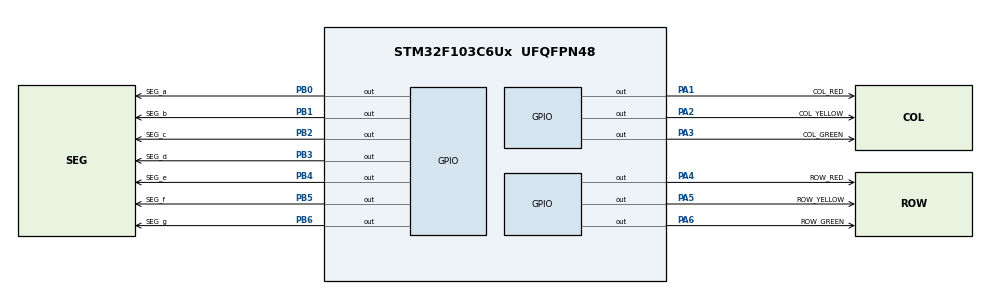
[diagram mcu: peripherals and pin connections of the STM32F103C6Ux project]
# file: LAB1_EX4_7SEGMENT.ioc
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Mcu.Family=STM32F1
Mcu.Name=STM32F103C6Ux
Mcu.Package=UFQFPN48
NVIC.PriorityGroup=NVIC_PRIORITYGROUP_4
PA0-WKUP.Signal=EVENTOUT
PA1.GPIO_Label=COL_RED
PA1.Signal=GPIO_Output
PA2.GPIO_Label=COL_YELLOW
PA2.Signal=GPIO_Output
PA3.GPIO_Label=COL_GREEN
PA3.Signal=GPIO_Output
PA4.GPIO_Label=ROW_RED
PA4.Signal=GPIO_Output
PA5.GPIO_Label=ROW_YELLOW
PA5.Signal=GPIO_Output
PA6.GPIO_Label=ROW_GREEN
PA6.Signal=GPIO_Output
PB0.GPIO_Label=SEG_a
PB0.Signal=GPIO_Output
PB1.GPIO_Label=SEG_b
PB1.Signal=GPIO_Output
PB2.GPIO_Label=SEG_c
PB2.Signal=GPIO_Output
PB3.GPIO_Label=SEG_d
PB3.Signal=GPIO_Output
PB4.GPIO_Label=SEG_e
PB4.Signal=GPIO_Output
PB5.GPIO_Label=SEG_f
PB5.Signal=GPIO_Output
PB6.GPIO_Label=SEG_g
PB6.Signal=GPIO_Output
ProjectManager.HeapSize=0x200
ProjectManager.StackSize=0x400
ProjectManager.TargetToolchain=STM32CubeIDE
RCC.APB1Freq_Value=8000000
RCC.APB2Freq_Value=8000000
VP_SYS_VS_ND.Mode=No_Debug
board=custom

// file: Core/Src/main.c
/* USER CODE BEGIN Header */
/**
  ******************************************************************************
  * @file           : main.c
  * @brief          : Main program body
  ******************************************************************************
  * @attention
  *
  * <h2><center>&copy; Copyright (c) 2022 STMicroelectronics.
  * All rights reserved.</center></h2>
  *
  * This software component is licensed by ST under BSD 3-Clause license,
  * the "License"; You may not use this file except in compliance with the
  * License. You may obtain a copy of the License at:
  *                        opensource.org/licenses/BSD-3-Clause
  *
  ******************************************************************************
  */
/* USER CODE END Header */
#include "main.h"

void SystemClock_Config(void);
static void MX_GPIO_Init(void);

/* USER CODE BEGIN 0 */
void display7SEG(int num){
	  if(num == 0){
		  HAL_GPIO_WritePin(SEG_a_GPIO_Port, SEG_a_Pin, RESET);
		  HAL_GPIO_WritePin(SEG_b_GPIO_Port, SEG_b_Pin, RESET);
		  HAL_GPIO_WritePin(SEG_c_GPIO_Port, SEG_c_Pin, RESET);
		  HAL_GPIO_WritePin(SEG_d_GPIO_Port, SEG_d_Pin, RESET);
		  HAL_GPIO_WritePin(SEG_e_GPIO_Port, SEG_e_Pin, RESET);
		  HAL_GPIO_WritePin(SEG_f_GPIO_Port, SEG_f_Pin, RESET);
		  HAL_GPIO_WritePin(SEG_g_GPIO_Port, SEG_g_Pin, SET);
	  }
	  if(num == 1){
		  HAL_GPIO_WritePin(SEG_a_GPIO_Port, SEG_a_Pin, SET);
		  HAL_GPIO_WritePin(SEG_b_GPIO_Port, SEG_b_Pin, RESET);
		  HAL_GPIO_WritePin(SEG_c_GPIO_Port, SEG_c_Pin, RESET);
		  HAL_GPIO_WritePin(SEG_d_GPIO_Port, SEG_d_Pin, SET);
		  HAL_GPIO_WritePin(SEG_e_GPIO_Port, SEG_e_Pin, SET);
		  HAL_GPIO_WritePin(SEG_f_GPIO_Port, SEG_f_Pin, SET);
		  HAL_GPIO_WritePin(SEG_g_GPIO_Port, SEG_g_Pin, SET);
	  }
	  if(num == 2){
		  HAL_GPIO_WritePin(SEG_a_GPIO_Port, SEG_a_Pin, RESET);
		  HAL_GPIO_WritePin(SEG_b_GPIO_Port, SEG_b_Pin, RESET);
		  HAL_GPIO_WritePin(SEG_c_GPIO_Port, SEG_c_Pin, SET);
		  HAL_GPIO_WritePin(SEG_d_GPIO_Port, SEG_d_Pin, RESET);
		  HAL_GPIO_WritePin(SEG_e_GPIO_Port, SEG_e_Pin, RESET);
		  HAL_GPIO_WritePin(SEG_f_GPIO_Port, SEG_f_Pin, SET);
		  HAL_GPIO_WritePin(SEG_g_GPIO_Port, SEG_g_Pin, RESET);
	  }
	  if(num == 3){
		  HAL_GPIO_WritePin(SEG_a_GPIO_Port, SEG_a_Pin, RESET);
		  HAL_GPIO_WritePin(SEG_b_GPIO_Port, SEG_b_Pin, RESET);
		  HAL_GPIO_WritePin(SEG_c_GPIO_Port, SEG_c_Pin, RESET);
		  HAL_GPIO_WritePin(SEG_d_GPIO_Port, SEG_d_Pin, RESET);
		  HAL_GPIO_WritePin(SEG_e_GPIO_Port, SEG_e_Pin, SET);
		  HAL_GPIO_WritePin(SEG_f_GPIO_Port, SEG_f_Pin, SET);
		  HAL_GPIO_WritePin(SEG_g_GPIO_Port, SEG_g_Pin, RESET);
	  }
	  if(num == 4){
		  HAL_GPIO_WritePin(SEG_a_GPIO_Port, SEG_a_Pin, SET);
		  HAL_GPIO_WritePin(SEG_b_GPIO_Port, SEG_b_Pin, RESET);
		  HAL_GPIO_WritePin(SEG_c_GPIO_Port, SEG_c_Pin, RESET);
		  HAL_GPIO_WritePin(SEG_d_GPIO_Port, SEG_d_Pin, SET);
		  HAL_GPIO_WritePin(SEG_e_GPIO_Port, SEG_e_Pin, SET);
		  HAL_GPIO_WritePin(SEG_f_GPIO_Port, SEG_f_Pin, RESET);
		  HAL_GPIO_WritePin(SEG_g_GPIO_Port, SEG_g_Pin, RESET);
	  }
	  if(num == 5){
		  HAL_GPIO_WritePin(SEG_a_GPIO_Port, SEG_a_Pin, RESET);
		  HAL_GPIO_WritePin(SEG_b_GPIO_Port, SEG_b_Pin, SET);
		  HAL_GPIO_WritePin(SEG_c_GPIO_Port, SEG_c_Pin, RESET);
		  HAL_GPIO_WritePin(SEG_d_GPIO_Port, SEG_d_Pin, RESET);
		  HAL_GPIO_WritePin(SEG_e_GPIO_Port, SEG_e_Pin, SET);
		  HAL_GPIO_WritePin(SEG_f_GPIO_Port, SEG_f_Pin, RESET);
		  HAL_GPIO_WritePin(SEG_g_GPIO_Port, SEG_g_Pin, RESET);
	  }
	  if(num == 6){
		  HAL_GPIO_WritePin(SEG_a_GPIO_Port, SEG_a_Pin, RESET);
		  HAL_GPIO_WritePin(SEG_b_GPIO_Port, SEG_b_Pin, SET);
		  HAL_GPIO_WritePin(SEG_c_GPIO_Port, SEG_c_Pin, RESET);
		  HAL_GPIO_WritePin(SEG_d_GPIO_Port, SEG_d_Pin, RESET);
		  HAL_GPIO_WritePin(SEG_e_GPIO_Port, SEG_e_Pin, RESET);
		  HAL_GPIO_WritePin(SEG_f_GPIO_Port, SEG_f_Pin, RESET);
		  HAL_GPIO_WritePin(SEG_g_GPIO_Port, SEG_g_Pin, RESET);
	  }
	  if(num == 7){
		  HAL_GPIO_WritePin(SEG_a_GPIO_Port, SEG_a_Pin, RESET);
		  HAL_GPIO_WritePin(SEG_b_GPIO_Port, SEG_b_Pin, RESET);
		  HAL_GPIO_WritePin(SEG_c_GPIO_Port, SEG_c_Pin, RESET);
		  HAL_GPIO_WritePin(SEG_d_GPIO_Port, SEG_d_Pin, SET);
		  HAL_GPIO_WritePin(SEG_e_GPIO_Port, SEG_e_Pin, SET);
		  HAL_GPIO_WritePin(SEG_f_GPIO_Port, SEG_f_Pin, SET);
		  HAL_GPIO_WritePin(SEG_g_GPIO_Port, SEG_g_Pin, SET);
	  }
	  if(num == 8){
		  HAL_GPIO_WritePin(SEG_a_GPIO_Port, SEG_a_Pin, RESET);
		  HAL_GPIO_WritePin(SEG_b_GPIO_Port, SEG_b_Pin, RESET);
		  HAL_GPIO_WritePin(SEG_c_GPIO_Port, SEG_c_Pin, RESET);
		  HAL_GPIO_WritePin(SEG_d_GPIO_Port, SEG_d_Pin, RESET);
		  HAL_GPIO_WritePin(SEG_e_GPIO_Port, SEG_e_Pin, RESET);
		  HAL_GPIO_WritePin(SEG_f_GPIO_Port, SEG_f_Pin, RESET);
		  HAL_GPIO_WritePin(SEG_g_GPIO_Port, SEG_g_Pin, RESET);
	  }
	  if(num == 9){
		  HAL_GPIO_WritePin(SEG_a_GPIO_Port, SEG_a_Pin, RESET);
		  HAL_GPIO_WritePin(SEG_b_GPIO_Port, SEG_b_Pin, RESET);
		  HAL_GPIO_WritePin(SEG_c_GPIO_Port, SEG_c_Pin, RESET);
		  HAL_GPIO_WritePin(SEG_d_GPIO_Port, SEG_d_Pin, RESET);
		  HAL_GPIO_WritePin(SEG_e_GPIO_Port, SEG_e_Pin, SET);
		  HAL_GPIO_WritePin(SEG_f_GPIO_Port, SEG_f_Pin, RESET);
		  HAL_GPIO_WritePin(SEG_g_GPIO_Port, SEG_g_Pin, RESET);
	  }
}
/* USER CODE END 0 */

int main(void)
{

  /* MCU Configuration--------------------------------------------------------*/

  /* Reset of all peripherals, Initializes the Flash interface and the Systick. */
  HAL_Init();

  /* Configure the system clock */
  SystemClock_Config();

  /* Initialize all configured peripherals */
  MX_GPIO_Init();

  /* Infinite loop */
  /* USER CODE BEGIN WHILE */

  int count = 0;
  while (1)
  {
	  if(count >= 10) count = 0;
	  /*
	   * Row state:      Red -         Green - Yellow
	   * Col state: Green - Yellow -         Red
	   */
  	  if(count >= 0 && count <5){

  		  /* Row */
  		  HAL_GPIO_WritePin(ROW_RED_GPIO_Port, ROW_RED_Pin, RESET);
  		  HAL_GPIO_WritePin(ROW_YELLOW_GPIO_Port, ROW_YELLOW_Pin, SET);
  		  HAL_GPIO_WritePin(ROW_GREEN_GPIO_Port, ROW_GREEN_Pin, SET);

  		/* Col */
  		  HAL_GPIO_WritePin(COL_RED_GPIO_Port, COL_RED_Pin, SET);
  		  if(count < 3){
  			  HAL_GPIO_WritePin(COL_YELLOW_GPIO_Port, COL_YELLOW_Pin, SET);
  			  HAL_GPIO_WritePin(COL_GREEN_GPIO_Port, COL_GREEN_Pin, RESET);
  		  }
  		  if(count >= 3){
  			  HAL_GPIO_WritePin(COL_YELLOW_GPIO_Port, COL_YELLOW_Pin, RESET);
			  HAL_GPIO_WritePin(COL_GREEN_GPIO_Port, COL_GREEN_Pin, SET);
  		  }
  	  }
  	  if(count >=5 && count <10){
  		/* Row */
  		  HAL_GPIO_WritePin(ROW_RED_GPIO_Port, ROW_RED_Pin, SET);
  		  if(count < 8){
  	  		  HAL_GPIO_WritePin(ROW_YELLOW_GPIO_Port, ROW_YELLOW_Pin, SET);
  	  		  HAL_GPIO_WritePin(ROW_GREEN_GPIO_Port, ROW_GREEN_Pin, RESET);
  		  }
  		  if(count >= 8){
  	  		  HAL_GPIO_WritePin(ROW_YELLOW_GPIO_Port, ROW_YELLOW_Pin, RESET);
  	  		  HAL_GPIO_WritePin(ROW_GREEN_GPIO_Port, ROW_GREEN_Pin, SET);
  		  }
  		/* Col */
  		  HAL_GPIO_WritePin(COL_RED_GPIO_Port, COL_RED_Pin, RESET);
  		  HAL_GPIO_WritePin(COL_YELLOW_GPIO_Port, COL_YELLOW_Pin, SET);
  		  HAL_GPIO_WritePin(COL_GREEN_GPIO_Port, COL_GREEN_Pin, SET);
  	  }
	  display7SEG(count++);
	  HAL_Delay(1000);
    /* USER CODE END WHILE */

  }
}

void SystemClock_Config(void)
{
  RCC_OscInitTypeDef RCC_OscInitStruct = {0};
  RCC_ClkInitTypeDef RCC_ClkInitStruct = {0};

  /** Initializes the RCC Oscillators according to the specified parameters
  * in the RCC_OscInitTypeDef structure.
  */
  RCC_OscInitStruct.OscillatorType = RCC_OSCILLATORTYPE_HSI;
  RCC_OscInitStruct.HSIState = RCC_HSI_ON;
  RCC_OscInitStruct.HSICalibrationValue = RCC_HSICALIBRATION_DEFAULT;
  RCC_OscInitStruct.PLL.PLLState = RCC_PLL_NONE;
  if (HAL_RCC_OscConfig(&RCC_OscInitStruct) != HAL_OK)
  {
    Error_Handler();
  }
  /** Initializes the CPU, AHB and APB buses clocks
  */
  RCC_ClkInitStruct.ClockType = RCC_CLOCKTYPE_HCLK|RCC_CLOCKTYPE_SYSCLK
                              |RCC_CLOCKTYPE_PCLK1|RCC_CLOCKTYPE_PCLK2;
  RCC_ClkInitStruct.SYSCLKSource = RCC_SYSCLKSOURCE_HSI;
  RCC_ClkInitStruct.AHBCLKDivider = RCC_SYSCLK_DIV1;
  RCC_ClkInitStruct.APB1CLKDivider = RCC_HCLK_DIV1;
  RCC_ClkInitStruct.APB2CLKDivider = RCC_HCLK_DIV1;

  if (HAL_RCC_ClockConfig(&RCC_ClkInitStruct, FLASH_LATENCY_0) != HAL_OK)
  {
    Error_Handler();
  }
}

static void MX_GPIO_Init(void)
{
  GPIO_InitTypeDef GPIO_InitStruct = {0};

  /* GPIO Ports Clock Enable */
  __HAL_RCC_GPIOA_CLK_ENABLE();
  __HAL_RCC_GPIOB_CLK_ENABLE();

  /*Configure GPIO pin Output Level */
  HAL_GPIO_WritePin(GPIOA, COL_RED_Pin|COL_YELLOW_Pin|COL_GREEN_Pin|ROW_RED_Pin
                          |ROW_YELLOW_Pin|ROW_GREEN_Pin, GPIO_PIN_RESET);

  /*Configure GPIO pin Output Level */
  HAL_GPIO_WritePin(GPIOB, SEG_a_Pin|SEG_b_Pin|SEG_c_Pin|SEG_d_Pin
                          |SEG_e_Pin|SEG_f_Pin|SEG_g_Pin, GPIO_PIN_RESET);

  /*Configure GPIO pin : PA0 */
  GPIO_InitStruct.Pin = GPIO_PIN_0;
  GPIO_InitStruct.Mode = GPIO_MODE_AF_PP;
  GPIO_InitStruct.Speed = GPIO_SPEED_FREQ_LOW;
  HAL_GPIO_Init(GPIOA, &GPIO_InitStruct);

  /*Configure GPIO pins : COL_RED_Pin COL_YELLOW_Pin COL_GREEN_Pin ROW_RED_Pin
                           ROW_YELLOW_Pin ROW_GREEN_Pin */
  GPIO_InitStruct.Pin = COL_RED_Pin|COL_YELLOW_Pin|COL_GREEN_Pin|ROW_RED_Pin
                          |ROW_YELLOW_Pin|ROW_GREEN_Pin;
  GPIO_InitStruct.Mode = GPIO_MODE_OUTPUT_PP;
  GPIO_InitStruct.Pull = GPIO_NOPULL;
  GPIO_InitStruct.Speed = GPIO_SPEED_FREQ_LOW;
  HAL_GPIO_Init(GPIOA, &GPIO_InitStruct);

  /*Configure GPIO pins : SEG_a_Pin SEG_b_Pin SEG_c_Pin SEG_d_Pin
                           SEG_e_Pin SEG_f_Pin SEG_g_Pin */
  GPIO_InitStruct.Pin = SEG_a_Pin|SEG_b_Pin|SEG_c_Pin|SEG_d_Pin
                          |SEG_e_Pin|SEG_f_Pin|SEG_g_Pin;
  GPIO_InitStruct.Mode = GPIO_MODE_OUTPUT_PP;
  GPIO_InitStruct.Pull = GPIO_NOPULL;
  GPIO_InitStruct.Speed = GPIO_SPEED_FREQ_LOW;
  HAL_GPIO_Init(GPIOB, &GPIO_InitStruct);

  /*Configures the port and pin on which the EVENTOUT Cortex signal will be connected */
  HAL_GPIOEx_ConfigEventout(AFIO_EVENTOUT_PORT_A, AFIO_EVENTOUT_PIN_0);

  /*Enables the Event Output */
  HAL_GPIOEx_EnableEventout();

}

void Error_Handler(void)
{
  __disable_irq();
  while (1)
  {
  }
}

/************************ (C) COPYRIGHT STMicroelectronics *****END OF FILE****/
